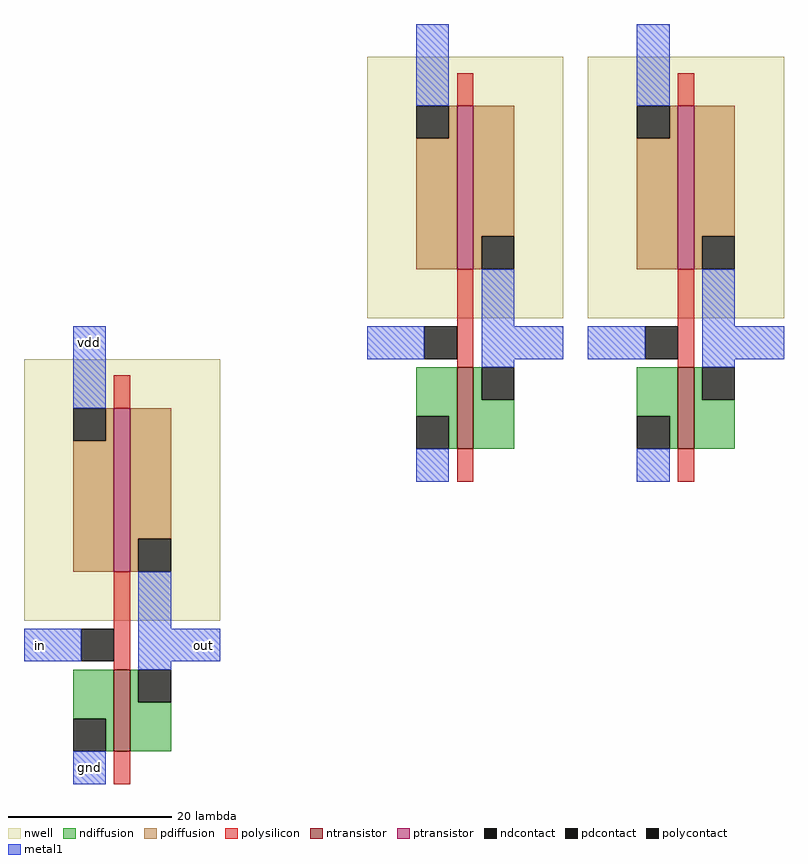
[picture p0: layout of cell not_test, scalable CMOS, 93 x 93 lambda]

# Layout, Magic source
magic
tech scmos
<< nwell >>
rect -42 -17 -18 15
<< ntransistor >>
rect -31 -33 -29 -23
<< ptransistor >>
rect -31 -11 -29 9
<< ndiffusion >>
rect -36 -29 -31 -23
rect -32 -33 -31 -29
rect -29 -27 -28 -23
rect -29 -33 -24 -27
<< pdiffusion >>
rect -32 5 -31 9
rect -36 -11 -31 5
rect -29 -7 -24 9
rect -29 -11 -28 -7
<< ndcontact >>
rect -36 -33 -32 -29
rect -28 -27 -24 -23
<< pdcontact >>
rect -36 5 -32 9
rect -28 -11 -24 -7
<< polysilicon >>
rect -31 9 -29 13
rect -31 -23 -29 -11
rect -31 -37 -29 -33
<< polycontact >>
rect -35 -22 -31 -18
<< metal1 >>
rect -36 9 -32 19
rect -28 -18 -24 -11
rect -42 -22 -35 -18
rect -28 -22 -18 -18
rect -28 -23 -24 -22
rect -36 -37 -32 -33
use not_layout  not_layout_1
transform 1 0 27 0 1 20
box 0 -20 24 36
use not_layout  not_layout_0
transform 1 0 0 0 1 20
box 0 -20 24 36
<< labels >>
rlabel metal1 -41 -21 -39 -19 3 in
rlabel metal1 -35 -36 -33 -34 1 gnd
rlabel metal1 -21 -21 -19 -19 7 out
rlabel metal1 -35 16 -33 18 5 vdd
<< end >>

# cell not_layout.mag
magic
tech scmos
<< nwell >>
rect 0 0 24 32
<< ntransistor >>
rect 11 -16 13 -6
<< ptransistor >>
rect 11 6 13 26
<< ndiffusion >>
rect 6 -12 11 -6
rect 10 -16 11 -12
rect 13 -10 14 -6
rect 13 -16 18 -10
<< pdiffusion >>
rect 10 22 11 26
rect 6 6 11 22
rect 13 10 18 26
rect 13 6 14 10
<< ndcontact >>
rect 6 -16 10 -12
rect 14 -10 18 -6
<< pdcontact >>
rect 6 22 10 26
rect 14 6 18 10
<< polysilicon >>
rect 11 26 13 30
rect 11 -6 13 6
rect 11 -20 13 -16
<< polycontact >>
rect 7 -5 11 -1
<< metal1 >>
rect 6 26 10 36
rect 14 -1 18 6
rect 0 -5 7 -1
rect 14 -5 24 -1
rect 14 -6 18 -5
rect 6 -20 10 -16
<< labels >>
rlabel metal1 1 -4 3 -2 3 in
rlabel metal1 7 -19 9 -17 1 gnd
rlabel metal1 21 -4 23 -2 7 out
rlabel metal1 7 33 9 35 5 vdd
<< end >>
